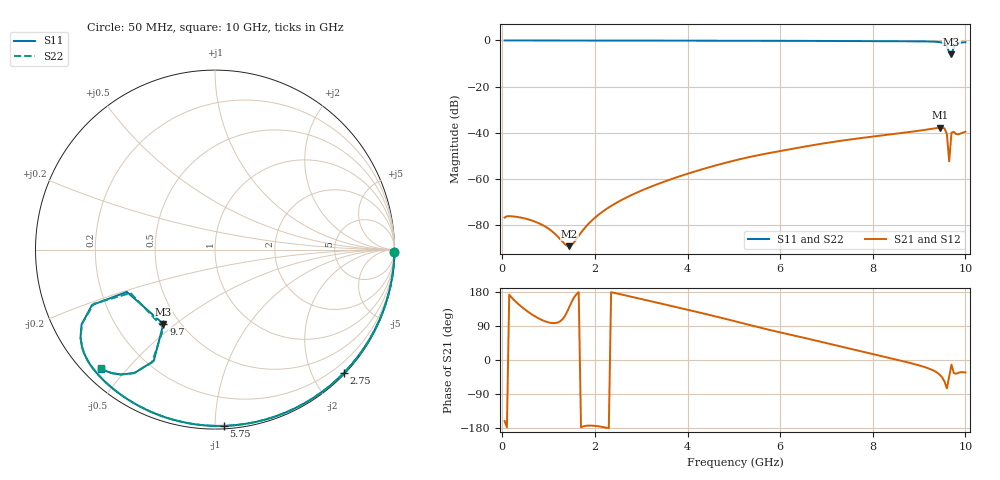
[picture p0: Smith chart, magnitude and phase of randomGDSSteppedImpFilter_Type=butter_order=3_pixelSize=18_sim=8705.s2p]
! freq	dB(S11)	phase(S11)	dB(S12)	phase(S12)
!  dB(S21)	phase(S21)	dB(S22)	phase(S22)
!S-par simulation data
#  GHz  S  DB  R 50
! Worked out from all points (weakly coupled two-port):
!   200 points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, 50 MHz to 10 GHz, reference 50 ohm
!   highest |S21| = -37.69 dB at 9.45 GHz (marker M1); lowest = -89.0 dB at 1.45 GHz (marker M2)
!   lowest |S11| = -5.9 dB at 9.7 GHz (marker M3), VSWR 3.04, Z = 20.4 - j22.6 ohm
!   |S11| at or under -10 dB: nowhere
!   |S22| runs from -5.7 to 0.0 dB; largest |S21 - S12| = 0
!   S11 on the Smith chart (normalised r, x): 50 MHz: open; 2.75 GHz: 0.02, -2.50; 5.75 GHz: 0.02, -1.05; 9.7 GHz: 0.41, -0.45; 10 GHz: 0.05, -0.43
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0.05  -0.00 -0.8  -76.66 -161.0  -76.66 -161.0  -0.00 -0.8
0.4  -0.00 -6.5  -76.65 142.0  -76.65 142.0  -0.00 -6.5
0.9  -0.02 -14.6  -80.23 103.2  -80.23 103.2  -0.02 -14.6
1.45  -0.03 -23.4  -89.03 140.7  -89.03 140.7  -0.03 -23.4
1.75  -0.04 -28.1  -81.90 -175.2  -81.90 -175.2  -0.04 -28.1
1.85  -0.04 -29.7  -79.60 -173.2  -79.60 -173.2  -0.04 -29.7
2.25  -0.05 -36.0  -72.90 -178.7  -72.90 -178.7  -0.05 -36.0
2.75  -0.06 -43.7  -67.28 168.0  -67.28 168.0  -0.06 -43.7
3.4  -0.07 -53.5  -61.81 149.7  -61.81 149.7  -0.07 -53.5
5.05  -0.12 -77.4  -51.77 101.5  -51.77 101.5  -0.12 -77.4
5.75  -0.15 -87.1  -48.78 80.0  -48.78 80.0  -0.15 -87.1
6.7  -0.19 -99.9  -45.34 53.3  -45.34 53.3  -0.19 -99.9
8.35  -0.31 -122.0  -40.72 5.7  -40.72 5.7  -0.31 -122.0
9.1  -0.42 -133.7  -38.78 -17.8  -38.78 -17.8  -0.42 -133.7
9.45  -0.74 -143.8  -37.69 -39.1  -37.69 -39.1  -0.75 -143.9
9.55  -1.39 -150.7  -38.14 -57.2  -38.14 -57.2  -1.44 -150.9
9.6  -2.48 -155.7  -40.42 -74.8  -40.42 -74.8  -2.61 -155.9
9.65  -5.28 -154.4  -52.30 -42.7  -52.30 -42.7  -5.52 -152.8
9.7  -5.95 -124.8  -39.93 -12.2  -39.93 -12.2  -5.65 -123.3
9.75  -3.00 -118.8  -39.56 -34.5  -39.56 -34.5  -2.85 -119.2
9.8  -1.73 -123.1  -40.53 -36.4  -40.53 -36.4  -1.67 -123.4
10  -0.74 -133.8  -39.49 -32.9  -39.49 -32.9  -0.74 -133.9
